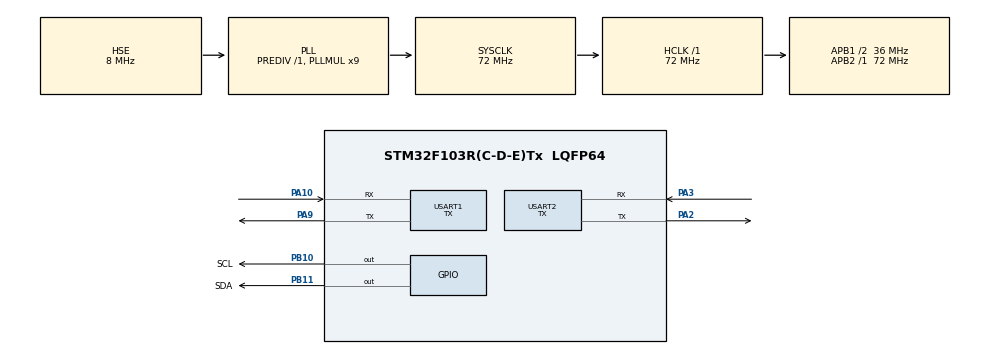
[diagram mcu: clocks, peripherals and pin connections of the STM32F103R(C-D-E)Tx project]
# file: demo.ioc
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Mcu.Family=STM32F1
Mcu.Name=STM32F103R(C-D-E)Tx
Mcu.Package=LQFP64
NVIC.PriorityGroup=NVIC_PRIORITYGROUP_4
NVIC.USART1_IRQn=true\:0\:0\:false\:false\:true\:true\:true
PA10.Mode=Asynchronous
PA10.Signal=USART1_RX
PA13.Mode=Serial_Wire
PA13.Signal=SYS_JTMS-SWDIO
PA14.Mode=Serial_Wire
PA14.Signal=SYS_JTCK-SWCLK
PA2.Mode=Asynchronous
PA2.Signal=USART2_TX
PA3.Mode=Asynchronous
PA3.Signal=USART2_RX
PA9.Mode=Asynchronous
PA9.Signal=USART1_TX
PB10.GPIO_Label=SCL
PB10.Signal=GPIO_Output
PB11.GPIO_Label=SDA
PB11.Signal=GPIO_Output
PD0-OSC_IN.Mode=HSE-External-Oscillator
PD0-OSC_IN.Signal=RCC_OSC_IN
PD1-OSC_OUT.Mode=HSE-External-Oscillator
PD1-OSC_OUT.Signal=RCC_OSC_OUT
ProjectManager.HeapSize=0x200
ProjectManager.StackSize=0x400
ProjectManager.TargetToolchain=MDK-ARM V5
RCC.AHBFreq_Value=72000000
RCC.APB1CLKDivider=RCC_HCLK_DIV2
RCC.APB1Freq_Value=36000000
RCC.APB1TimFreq_Value=72000000
RCC.APB2Freq_Value=72000000
RCC.APB2TimFreq_Value=72000000
RCC.HCLKFreq_Value=72000000
RCC.PLLMUL=RCC_PLL_MUL9
RCC.PLLSourceVirtual=RCC_PLLSOURCE_HSE
RCC.SYSCLKFreq_VALUE=72000000
RCC.SYSCLKSource=RCC_SYSCLKSOURCE_PLLCLK
RCC.USBFreq_Value=72000000
USART1.Mode=MODE_TX
USART1.VirtualMode=VM_ASYNC
USART2.Mode=MODE_TX
USART2.VirtualMode=VM_ASYNC
board=custom

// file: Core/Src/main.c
/* USER CODE BEGIN Header */
/**
 ******************************************************************************
 * @file           : main.c
 * @brief          : Main program body
 ******************************************************************************
 * @attention
 *
 * <h2><center>&copy; Copyright (c) 2022 STMicroelectronics.
 * All rights reserved.</center></h2>
 *
 * This software component is licensed by ST under BSD 3-Clause license,
 * the "License"; You may not use this file except in compliance with the
 * License. You may obtain a copy of the License at:
 *                        opensource.org/licenses/BSD-3-Clause
 *
 ******************************************************************************
 */
/* USER CODE END Header */

#include "main.h"
#include "gpio.h"
#include "usart.h"

/* USER CODE BEGIN Includes */
#include "i2cdev/delay.h"
#include "i2cdev/i2cdev.h"

uint8_t SDA(void) { return HAL_GPIO_ReadPin(SDA_GPIO_Port, SDA_Pin); }

void SDA_IN(void)
{
    static GPIO_InitTypeDef GPIO_InitStruct = {
        .Pin   = SDA_Pin,
        .Mode  = GPIO_MODE_INPUT,
        .Pull  = GPIO_NOPULL,
        .Speed = GPIO_SPEED_FREQ_HIGH,
    };
    HAL_GPIO_Init(SDA_GPIO_Port, &GPIO_InitStruct);

    // CRH -> Pin[15:8], CRL -> Pin[7:0]
    // 16个IO，每个IO占4bit

    // SDA_GPIO_Port->CRH &= 0XFFFF0FFF;
    // SDA_GPIO_Port->CRH |= (uint32_t)8 << 12;
}

void SDA_OUT(void)
{
    static GPIO_InitTypeDef GPIO_InitStruct = {
        .Pin   = SDA_Pin,
        .Mode  = GPIO_MODE_OUTPUT_OD,
        .Pull  = GPIO_NOPULL,
        .Speed = GPIO_SPEED_FREQ_HIGH,
    };
    HAL_GPIO_Init(SDA_GPIO_Port, &GPIO_InitStruct);

    // SDA_GPIO_Port->CRH &= 0XFFFF0FFF;
    // SDA_GPIO_Port->CRH |= (uint32_t)1 << 12;
}

void SDA_0(void) { HAL_GPIO_WritePin(SDA_GPIO_Port, SDA_Pin, GPIO_PIN_RESET); }
void SDA_1(void) { HAL_GPIO_WritePin(SDA_GPIO_Port, SDA_Pin, GPIO_PIN_SET); }
void SCL_0(void) { HAL_GPIO_WritePin(SCL_GPIO_Port, SCL_Pin, GPIO_PIN_RESET); }
void SCL_1(void) { HAL_GPIO_WritePin(SCL_GPIO_Port, SCL_Pin, GPIO_PIN_SET); }
void delay(void) { HAL_Delay_us(5); }

soft_i2c i2c = {
    .SDA     = SDA,
    .SDA_IN  = SDA_IN,
    .SDA_OUT = SDA_OUT,
    .SDA_0   = SDA_0,
    .SDA_1   = SDA_1,
    .SCL_0   = SCL_0,
    .SCL_1   = SCL_1,
    .delay   = delay,
};

/* USER CODE END Includes */

void SystemClock_Config(void);

int main(void)
{

    /* MCU Configuration--------------------------------------------------------*/

    /* Reset of all peripherals, Initializes the Flash interface and the Systick. */
    HAL_Init();

    /* Configure the system clock */
    SystemClock_Config();

    /* Initialize all configured peripherals */
    MX_GPIO_Init();
    MX_USART1_UART_Init();
    MX_USART2_UART_Init();

    /* Infinite loop */
    /* USER CODE BEGIN WHILE */

    printf("start\r\n");

    // 0x57(87)

    soft_i2c_init(&i2c);

    while (1) {
        i2c_scan(&i2c);
        HAL_Delay(2000);
        /* USER CODE END WHILE */

    }
}

void SystemClock_Config(void)
{
    RCC_OscInitTypeDef RCC_OscInitStruct = {0};
    RCC_ClkInitTypeDef RCC_ClkInitStruct = {0};

    /** Initializes the CPU, AHB and APB busses clocks
     */
    RCC_OscInitStruct.OscillatorType = RCC_OSCILLATORTYPE_HSE;
    RCC_OscInitStruct.HSEState       = RCC_HSE_ON;
    RCC_OscInitStruct.HSEPredivValue = RCC_HSE_PREDIV_DIV1;
    RCC_OscInitStruct.HSIState       = RCC_HSI_ON;
    RCC_OscInitStruct.PLL.PLLState   = RCC_PLL_ON;
    RCC_OscInitStruct.PLL.PLLSource  = RCC_PLLSOURCE_HSE;
    RCC_OscInitStruct.PLL.PLLMUL     = RCC_PLL_MUL9;
    if (HAL_RCC_OscConfig(&RCC_OscInitStruct) != HAL_OK) {
        Error_Handler();
    }
    /** Initializes the CPU, AHB and APB busses clocks
     */
    RCC_ClkInitStruct.ClockType      = RCC_CLOCKTYPE_HCLK | RCC_CLOCKTYPE_SYSCLK | RCC_CLOCKTYPE_PCLK1 | RCC_CLOCKTYPE_PCLK2;
    RCC_ClkInitStruct.SYSCLKSource   = RCC_SYSCLKSOURCE_PLLCLK;
    RCC_ClkInitStruct.AHBCLKDivider  = RCC_SYSCLK_DIV1;
    RCC_ClkInitStruct.APB1CLKDivider = RCC_HCLK_DIV2;
    RCC_ClkInitStruct.APB2CLKDivider = RCC_HCLK_DIV1;

    if (HAL_RCC_ClockConfig(&RCC_ClkInitStruct, FLASH_LATENCY_2) != HAL_OK) {
        Error_Handler();
    }
}

void Error_Handler(void)
{
}

/************************ (C) COPYRIGHT STMicroelectronics *****END OF FILE****/
